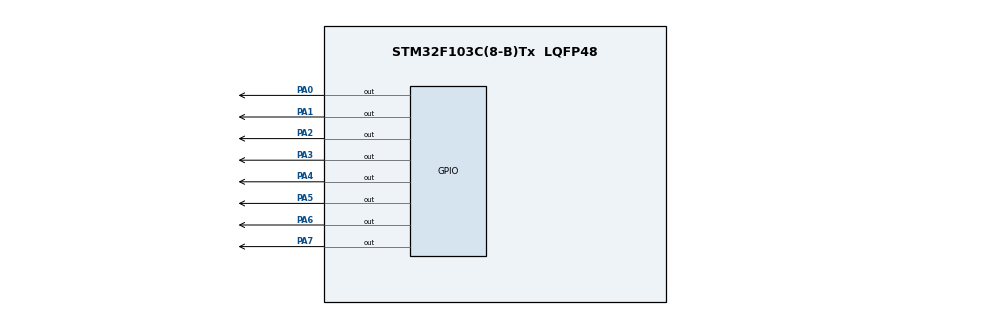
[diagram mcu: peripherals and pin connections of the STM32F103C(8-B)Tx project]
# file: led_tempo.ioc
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Mcu.Family=STM32F1
Mcu.Name=STM32F103C(8-B)Tx
Mcu.Package=LQFP48
NVIC.PriorityGroup=NVIC_PRIORITYGROUP_4
NVIC.TIM4_IRQn=true\:0\:0\:false\:false\:true\:true\:true\:true
PA0-WKUP.Signal=GPIO_Output
PA1.Signal=GPIO_Output
PA13.Mode=Serial_Wire
PA13.Signal=SYS_JTMS-SWDIO
PA14.Mode=Serial_Wire
PA14.Signal=SYS_JTCK-SWCLK
PA2.Signal=GPIO_Output
PA3.Signal=GPIO_Output
PA4.Signal=GPIO_Output
PA5.Signal=GPIO_Output
PA6.Signal=GPIO_Output
PA7.Signal=GPIO_Output
PC14-OSC32_IN.Mode=LSE-External-Oscillator
PC14-OSC32_IN.Signal=RCC_OSC32_IN
PC15-OSC32_OUT.Mode=LSE-External-Oscillator
PC15-OSC32_OUT.Signal=RCC_OSC32_OUT
ProjectManager.HeapSize=0x200
ProjectManager.StackSize=0x400
ProjectManager.TargetToolchain=MDK-ARM V5.32
RCC.APB1Freq_Value=8000000
RCC.APB2Freq_Value=8000000
TIM4.Period=0xffff
TIM4.Prescaler=8-1
VP_TIM4_VS_ClockSourceINT.Mode=Internal
board=custom

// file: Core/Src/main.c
/* USER CODE BEGIN Header */
/**
  ******************************************************************************
  * @file           : main.c
  * @brief          : Main program body
  ******************************************************************************
  * @attention
  *
  * Copyright (c) 2025 STMicroelectronics.
  * All rights reserved.
  *
  * This software is licensed under terms that can be found in the LICENSE file
  * in the root directory of this software component.
  * If no LICENSE file comes with this software, it is provided AS-IS.
  *
  ******************************************************************************
  */
/* USER CODE END Header */
#include "main.h"

/* USER CODE BEGIN Includes */
#include <stdio.h>
#include "stdint.h"
/* USER CODE END Includes */

TIM_HandleTypeDef htim4;

void SystemClock_Config(void);
static void MX_GPIO_Init(void);
static void MX_TIM4_Init(void);

/* USER CODE BEGIN 0 */

/*void Retardo_ms(int n)
{
     int i;
     for(i=0; i<n; i++){
         Delay_1ms();
     }
}*/

void __delay_us2(int32_t delay)
{
		uint16_t tickstart;
		//__HAL_TIM_SetCounter(&htim4, 0);
		tickstart = __HAL_TIM_GET_COUNTER(&htim4);
    while((__HAL_TIM_GET_COUNTER(&htim4)-tickstart) < delay);
}

void __delay_us(int32_t delay)
{
		volatile uint32_t i;
		for(i= 5*delay; i!=0; i--);

}

void __delay_us0(int32_t delay)
{
		HAL_Delay(1);
}

//stm32f103c8
#define 	Delay_ms		HAL_Delay
#define     PORTA			GPIOA->ODR
#define 	PORTA2(x)		HAL_GPIO_WritePin(GPIOA, x, GPIO_PIN_SET);

#define    _7SEGMENTOS(x)               (GPIOA->ODR = (0xFF80&GPIOA->ODR) | (0x007F&x))
//_ #define    _7SEGMENTOS(x)               (GPIOA->ODR |= (x&0x007F))

uint8_t segment[10]={
63,6,91,79,102,109,125,7,127,103
};

/* USER CODE END 0 */

int main(void)
{

  /* USER CODE BEGIN 1 */
    int i, j;

  /* USER CODE END 1 */

  /* MCU Configuration--------------------------------------------------------*/

  /* Reset of all peripherals, Initializes the Flash interface and the Systick. */
  HAL_Init();

  /* Configure the system clock */
  SystemClock_Config();

  /* Initialize all configured peripherals */
  MX_GPIO_Init();
  MX_TIM4_Init();
  /* USER CODE BEGIN 2 */

	  HAL_TIM_Base_Start(&htim4);
		__HAL_TIM_SetCounter(&htim4, 0);
  /* USER CODE END 2 */

  /* Infinite loop */
  while (1)
  {

    /* USER CODE BEGIN 3 */

		HAL_GPIO_WritePin(GPIOA, GPIO_PIN_7, GPIO_PIN_SET); //GPIO_PIN_7
		HAL_Delay(500);
	   i = 0;
		for(; i< 8; i++){
		  //PORTA = 1<<i;         // 'i'  led
			_7SEGMENTOS(1<<i);
		  Delay_ms(1000);    													//Retardo 1 seg
		}/*
		j = 0;
		for(; j< 10; j++){
		  PORTA = j;         // 'i'  led
		  Delay_ms(1000);
		}*/
		j = 0;
		for(; j< 10; j++){
		  _7SEGMENTOS(segment[j]);         // 'i'  led; PORTA = segment[j];
		  for(i=0; i<1000; i++) __delay_us2(1000);    //Retardo 1 seg
		}
		Delay_ms(500);
		j = 0;
		for(; j< 10; j++){
		  PORTA = segment[j];         // 'i'  led
		  for(i=0; i<1000; i++) __delay_us(1000);    //Retardo 1 seg
		}
  }
  /* USER CODE END 3 */
}

void SystemClock_Config(void)
{
  RCC_OscInitTypeDef RCC_OscInitStruct = {0};
  RCC_ClkInitTypeDef RCC_ClkInitStruct = {0};

  /** Initializes the RCC Oscillators according to the specified parameters
  * in the RCC_OscInitTypeDef structure.
  */
  RCC_OscInitStruct.OscillatorType = RCC_OSCILLATORTYPE_HSI;
  RCC_OscInitStruct.HSIState = RCC_HSI_ON;
  RCC_OscInitStruct.HSICalibrationValue = RCC_HSICALIBRATION_DEFAULT;
  RCC_OscInitStruct.PLL.PLLState = RCC_PLL_NONE;
  if (HAL_RCC_OscConfig(&RCC_OscInitStruct) != HAL_OK)
  {
    Error_Handler();
  }

  /** Initializes the CPU, AHB and APB buses clocks
  */
  RCC_ClkInitStruct.ClockType = RCC_CLOCKTYPE_HCLK|RCC_CLOCKTYPE_SYSCLK
                              |RCC_CLOCKTYPE_PCLK1|RCC_CLOCKTYPE_PCLK2;
  RCC_ClkInitStruct.SYSCLKSource = RCC_SYSCLKSOURCE_HSI;
  RCC_ClkInitStruct.AHBCLKDivider = RCC_SYSCLK_DIV1;
  RCC_ClkInitStruct.APB1CLKDivider = RCC_HCLK_DIV1;
  RCC_ClkInitStruct.APB2CLKDivider = RCC_HCLK_DIV1;

  if (HAL_RCC_ClockConfig(&RCC_ClkInitStruct, FLASH_LATENCY_0) != HAL_OK)
  {
    Error_Handler();
  }
}

static void MX_TIM4_Init(void)
{

  TIM_ClockConfigTypeDef sClockSourceConfig = {0};
  TIM_MasterConfigTypeDef sMasterConfig = {0};

  htim4.Instance = TIM4;
  htim4.Init.Prescaler = 8-1;
  htim4.Init.CounterMode = TIM_COUNTERMODE_UP;
  htim4.Init.Period = 0xffff;
  htim4.Init.ClockDivision = TIM_CLOCKDIVISION_DIV1;
  htim4.Init.AutoReloadPreload = TIM_AUTORELOAD_PRELOAD_DISABLE;
  if (HAL_TIM_Base_Init(&htim4) != HAL_OK)
  {
    Error_Handler();
  }
  sClockSourceConfig.ClockSource = TIM_CLOCKSOURCE_INTERNAL;
  if (HAL_TIM_ConfigClockSource(&htim4, &sClockSourceConfig) != HAL_OK)
  {
    Error_Handler();
  }
  sMasterConfig.MasterOutputTrigger = TIM_TRGO_RESET;
  sMasterConfig.MasterSlaveMode = TIM_MASTERSLAVEMODE_DISABLE;
  if (HAL_TIMEx_MasterConfigSynchronization(&htim4, &sMasterConfig) != HAL_OK)
  {
    Error_Handler();
  }

}

static void MX_GPIO_Init(void)
{
  GPIO_InitTypeDef GPIO_InitStruct = {0};

  /* GPIO Ports Clock Enable */
  __HAL_RCC_GPIOC_CLK_ENABLE();
  __HAL_RCC_GPIOA_CLK_ENABLE();

  /*Configure GPIO pin Output Level */
  HAL_GPIO_WritePin(GPIOA, GPIO_PIN_0|GPIO_PIN_1|GPIO_PIN_2|GPIO_PIN_3
                          |GPIO_PIN_4|GPIO_PIN_5|GPIO_PIN_6|GPIO_PIN_7, GPIO_PIN_RESET);

  /*Configure GPIO pins : PA0 PA1 PA2 PA3
                           PA4 PA5 PA6 PA7 */
  GPIO_InitStruct.Pin = GPIO_PIN_0|GPIO_PIN_1|GPIO_PIN_2|GPIO_PIN_3
                          |GPIO_PIN_4|GPIO_PIN_5|GPIO_PIN_6|GPIO_PIN_7;
  GPIO_InitStruct.Mode = GPIO_MODE_OUTPUT_PP;
  GPIO_InitStruct.Pull = GPIO_NOPULL;
  GPIO_InitStruct.Speed = GPIO_SPEED_FREQ_LOW;
  HAL_GPIO_Init(GPIOA, &GPIO_InitStruct);

}

void Error_Handler(void)
{
  __disable_irq();
  while (1)
  {
  }
}
